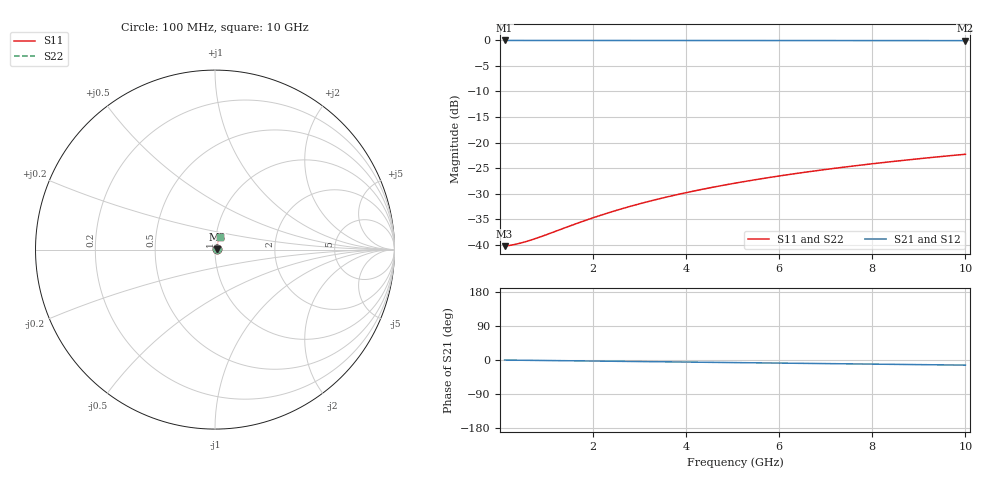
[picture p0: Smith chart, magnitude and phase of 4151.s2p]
# Hz S RI R 50.00
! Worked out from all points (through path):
!   100 points, 100 MHz to 10 GHz, reference 50 ohm
!   highest |S21| = -0.09 dB at 100 MHz (marker M1); lowest = -0.1 dB at 10 GHz (marker M2)
!   group delay of S21, straight-line fit = 3.76 ps
!   lowest |S11| = -40.2 dB at 100 MHz (marker M3), VSWR 1.02, Z = 51 + j0.0763 ohm
!   |S11| at or under -10 dB: start of sweep to end of sweep
!   |S22| runs from -40.2 to -22.3 dB; largest |S21 - S12| = 0
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1e8  0.00974 0.000748  0.9903 -0.00235  0.9903 -0.00235  0.00974 0.000748
3e8  0.00986 0.00224  0.9901 -0.00704  0.9901 -0.00704  0.00986 0.00224
4e8  0.00991 0.00299  0.9901 -0.00938  0.9901 -0.00938  0.00991 0.00299
5e8  0.00996 0.00374  0.99 -0.0117  0.99 -0.0117  0.00996 0.00374
7e8  0.0101 0.00523  0.9899 -0.0164  0.9899 -0.0164  0.0101 0.00523
9e8  0.0102 0.00673  0.9897 -0.0211  0.9897 -0.0211  0.0102 0.00673
1.8e9  0.0107 0.0134  0.9888 -0.0422  0.9888 -0.0422  0.0107 0.0134
2.2e9  0.0111 0.0164  0.9883 -0.0515  0.9883 -0.0515  0.0111 0.0164
2.6e9  0.0114 0.0194  0.9876 -0.0609  0.9876 -0.0609  0.0114 0.0194
3e9  0.0119 0.0223  0.9869 -0.0702  0.9869 -0.0702  0.0119 0.0223
3.4e9  0.0124 0.0253  0.9861 -0.0796  0.9861 -0.0796  0.0124 0.0253
3.8e9  0.0129 0.0282  0.9852 -0.0889  0.9852 -0.0889  0.0129 0.0282
4.2e9  0.0135 0.0311  0.9842 -0.0982  0.9842 -0.0982  0.0135 0.0311
4.6e9  0.0142 0.034  0.983 -0.1075  0.983 -0.1075  0.0142 0.034
5.1e9  0.0151 0.0377  0.9815 -0.1191  0.9815 -0.1191  0.0151 0.0377
5.5e9  0.0158 0.0405  0.9802 -0.1284  0.9802 -0.1284  0.0158 0.0405
5.9e9  0.0167 0.0434  0.9788 -0.1376  0.9788 -0.1376  0.0167 0.0434
6.7e9  0.0185 0.0491  0.9757 -0.156  0.9757 -0.156  0.0185 0.0491
7.5e9  0.0205 0.0547  0.9722 -0.1744  0.9722 -0.1744  0.0205 0.0547
8.4e9  0.0231 0.0609  0.9678 -0.1949  0.9678 -0.1949  0.0231 0.0609
9.2e9  0.0255 0.0663  0.9635 -0.213  0.9635 -0.213  0.0255 0.0663
1e10  0.0282 0.0716  0.9588 -0.2311  0.9588 -0.2311  0.0282 0.0716
